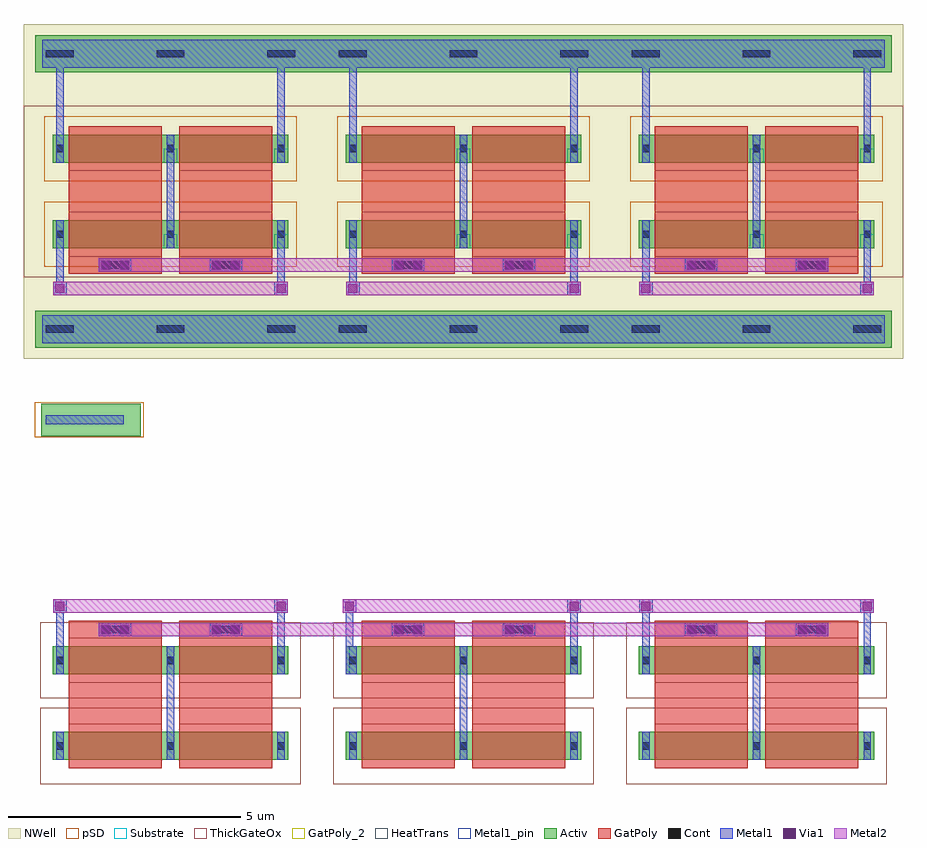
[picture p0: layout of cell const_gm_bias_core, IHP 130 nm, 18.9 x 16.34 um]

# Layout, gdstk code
import gdstk
lib = gdstk.Library(unit=1e-6, precision=1e-09)
def R(c, l, rs):  # rectangles x0, y0, x1, y1
    for r in rs: c.add(gdstk.rectangle(r[:2], r[2:], *l))
def A(c, l, x, y, w, h, nx, ny, dx, dy):  # array of equal rectangles
    R(c, l, [(x+i*dx, y+j*dy, x+i*dx+w, y+j*dy+h) for i in range(nx) for j in range(ny)])
Activ = (1, 0)
GatPoly = (5, 0)
GatPoly_2 = (5, 2)
Cont = (6, 0)
Metal1 = (8, 0)
Metal1_pin = (8, 2)
Metal2 = (10, 0)
pSD = (14, 0)
Via1 = (19, 0)
NWell = (31, 0)
Substrate = (40, 0)
ThickGateOx = (44, 0)
HeatTrans = (51, 0)

pmoshv_6 = lib.new_cell('pmosHV$6')
R(pmoshv_6, Activ, [(0,0,0.3,0.3), (0,0,2.68,0.6), (2.38,0,2.68,0.3)])
R(pmoshv_6, GatPoly, [(0.34,-0.18,2.34,0.78)])
R(pmoshv_6, GatPoly_2, [(0.34,-0.18,2.34,0.78)])
R(pmoshv_6, Cont, [(0.07,0.22,0.23,0.38), (2.45,0.22,2.61,0.38)])
R(pmoshv_6, Metal1, [(0.07,0,0.23,0.6), (2.45,0,2.61,0.6)])
R(pmoshv_6, Metal1_pin, [(0.07,0,0.23,0.6), (2.45,0,2.61,0.6)])
R(pmoshv_6, pSD, [(-0.18,-0.4,2.86,1)])
R(pmoshv_6, NWell, [(-0.62,-0.62,3.3,1.22)])
R(pmoshv_6, Substrate, [(2.38,0,2.68,0.3)])
R(pmoshv_6, ThickGateOx, [(-0.62,-0.62,3.3,1.22)])
R(pmoshv_6, HeatTrans, [(0.34,-0.18,2.34,0.78)])
pmoshv_6.add(gdstk.Label('pmosHV', (1.34,0.3), layer=63, texttype=0))
pmoshv_6.add(gdstk.Label('pmos', (1.34,0.3), layer=51, texttype=0))

nmoshv_6 = lib.new_cell('nmosHV$6')
R(nmoshv_6, Activ, [(0,0,0.3,0.3), (0,0,2.68,0.6), (2.38,0,2.68,0.3)])
R(nmoshv_6, GatPoly, [(0.34,-0.18,2.34,0.78)])
R(nmoshv_6, GatPoly_2, [(0.34,-0.18,2.34,0.78)])
R(nmoshv_6, Cont, [(0.07,0.22,0.23,0.38), (2.45,0.22,2.61,0.38)])
R(nmoshv_6, Metal1, [(0.07,0,0.23,0.6), (2.45,0,2.61,0.6)])
R(nmoshv_6, Metal1_pin, [(0.07,0,0.23,0.6), (2.45,0,2.61,0.6)])
R(nmoshv_6, ThickGateOx, [(-0.27,-0.52,2.95,1.12)])
R(nmoshv_6, HeatTrans, [(0.34,-0.18,2.34,0.78)])
nmoshv_6.add(gdstk.Label('nmosHV', (1.34,0.3), layer=63, texttype=0))
nmoshv_6.add(gdstk.Label('nmosHV', (1.34,0.3), layer=51, texttype=0))

via_stack = lib.new_cell('via_stack')
R(via_stack, Metal1, [(-0.35,-0.145,0.35,0.145)])
R(via_stack, Metal2, [(-0.35,-0.145,0.35,0.145)])
R(via_stack, Via1, [(-0.3,-0.095,-0.11,0.095), (0.11,-0.095,0.3,0.095)])

via_stack_1 = lib.new_cell('via_stack$1')
R(via_stack_1, Metal1, [(-0.145,-0.145,0.145,0.145)])
R(via_stack_1, Metal2, [(-0.145,-0.145,0.145,0.145)])
R(via_stack_1, Via1, [(-0.095,-0.095,0.095,0.095)])

const_gm_bias_core = lib.new_cell('const_gm_bias_core')
A(const_gm_bias_core, Cont, 1.71, 0.05, 0.6, 0.16, 3, 2, 2.38, 5.92)
A(const_gm_bias_core, Cont, 8.01, 0.05, 0.6, 0.16, 3, 2, 2.38, 5.92)
A(const_gm_bias_core, Cont, 14.31, 0.05, 0.6, 0.16, 3, 2, 2.38, 5.92)
R(const_gm_bias_core, Cont, [(2.9,-6.41,3.5,-6.25), (5.28,-6.41,5.88,-6.25), (9.2,-6.41,9.8,-6.25), (11.58,-6.41,12.18,-6.25), (15.5,-6.41,16.1,-6.25), (17.88,-6.41,18.48,-6.25), (2.9,1.425,3.5,1.585), (5.28,1.425,5.88,1.585), (9.2,1.425,9.8,1.585), (11.58,1.425,12.18,1.585), (15.5,1.425,16.1,1.585), (17.88,1.425,18.48,1.585)])
R(const_gm_bias_core, NWell, [(1.24,-0.51,20.14,1.25), (1.24,4.93,20.14,6.69)])
const_gm_bias_core.add(gdstk.FlexPath([(1.48,0.13),(19.9,0.13)], 0.8, ends="flush", simple_path=True, layer=1, datatype=0))  # Activ
const_gm_bias_core.add(gdstk.FlexPath([(1.48,6.05),(19.9,6.05)], 0.8, ends="flush", simple_path=True, layer=1, datatype=0))  # Activ
const_gm_bias_core.add(gdstk.FlexPath([(1.61,-1.82),(3.75,-1.82)], 0.7, ends="flush", simple_path=True, layer=1, datatype=0))  # Activ
const_gm_bias_core.add(gdstk.FlexPath([(18.18,4.49),(18.18,1.32)], 2, ends="flush", simple_path=True, layer=5, datatype=0))  # GatPoly
const_gm_bias_core.add(gdstk.FlexPath([(15.8,4.49),(15.8,1.32)], 2, ends="flush", simple_path=True, layer=5, datatype=0))  # GatPoly
const_gm_bias_core.add(gdstk.FlexPath([(11.88,4.49),(11.88,1.32)], 2, ends="flush", simple_path=True, layer=5, datatype=0))  # GatPoly
const_gm_bias_core.add(gdstk.FlexPath([(9.5,4.49),(9.5,1.32)], 2, ends="flush", simple_path=True, layer=5, datatype=0))  # GatPoly
const_gm_bias_core.add(gdstk.FlexPath([(5.58,4.49),(5.58,1.32)], 2, ends="flush", simple_path=True, layer=5, datatype=0))  # GatPoly
const_gm_bias_core.add(gdstk.FlexPath([(3.2,4.49),(3.2,1.32)], 2, ends="flush", simple_path=True, layer=5, datatype=0))  # GatPoly
const_gm_bias_core.add(gdstk.FlexPath([(18.18,-9.31),(18.18,-6.14)], 2, ends="flush", simple_path=True, layer=5, datatype=0))  # GatPoly
const_gm_bias_core.add(gdstk.FlexPath([(15.8,-9.31),(15.8,-6.14)], 2, ends="flush", simple_path=True, layer=5, datatype=0))  # GatPoly
const_gm_bias_core.add(gdstk.FlexPath([(11.88,-9.31),(11.88,-6.14)], 2, ends="flush", simple_path=True, layer=5, datatype=0))  # GatPoly
const_gm_bias_core.add(gdstk.FlexPath([(9.5,-9.31),(9.5,-6.14)], 2, ends="flush", simple_path=True, layer=5, datatype=0))  # GatPoly
const_gm_bias_core.add(gdstk.FlexPath([(5.58,-9.31),(5.58,-6.14)], 2, ends="flush", simple_path=True, layer=5, datatype=0))  # GatPoly
const_gm_bias_core.add(gdstk.FlexPath([(3.2,-9.31),(3.2,-6.14)], 2, ends="flush", simple_path=True, layer=5, datatype=0))  # GatPoly
const_gm_bias_core.add(gdstk.FlexPath([(4.39,4.31),(4.39,1.87)], 0.16, ends="flush", simple_path=True, layer=8, datatype=0))  # Metal1
const_gm_bias_core.add(gdstk.FlexPath([(10.69,4.31),(10.69,1.87)], 0.16, ends="flush", simple_path=True, layer=8, datatype=0))  # Metal1
const_gm_bias_core.add(gdstk.FlexPath([(4.39,-6.69),(4.39,-9.13)], 0.16, ends="flush", simple_path=True, layer=8, datatype=0))  # Metal1
const_gm_bias_core.add(gdstk.FlexPath([(10.69,-6.69),(10.69,-9.13)], 0.16, ends="flush", simple_path=True, layer=8, datatype=0))  # Metal1
const_gm_bias_core.add(gdstk.FlexPath([(16.99,-6.69),(16.99,-9.13)], 0.16, ends="flush", simple_path=True, layer=8, datatype=0))  # Metal1
const_gm_bias_core.add(gdstk.FlexPath([(2.01,2.47),(2.01,0.86)], 0.16, ends="flush", simple_path=True, layer=8, datatype=0))  # Metal1
const_gm_bias_core.add(gdstk.FlexPath([(6.77,2.47),(6.77,0.86)], 0.16, ends="flush", simple_path=True, layer=8, datatype=0))  # Metal1
const_gm_bias_core.add(gdstk.FlexPath([(8.31,2.47),(8.31,0.86)], 0.16, ends="flush", simple_path=True, layer=8, datatype=0))  # Metal1
const_gm_bias_core.add(gdstk.FlexPath([(13.07,2.47),(13.07,0.86)], 0.16, ends="flush", simple_path=True, layer=8, datatype=0))  # Metal1
const_gm_bias_core.add(gdstk.FlexPath([(16.99,4.31),(16.99,1.87)], 0.16, ends="flush", simple_path=True, layer=8, datatype=0))  # Metal1
const_gm_bias_core.add(gdstk.FlexPath([(14.61,2.47),(14.61,0.86)], 0.16, ends="flush", simple_path=True, layer=8, datatype=0))  # Metal1
const_gm_bias_core.add(gdstk.FlexPath([(19.37,2.47),(19.37,0.86)], 0.16, ends="flush", simple_path=True, layer=8, datatype=0))  # Metal1
const_gm_bias_core.add(gdstk.FlexPath([(1.63,0.13),(19.75,0.13)], 0.6, ends="flush", simple_path=True, layer=8, datatype=0))  # Metal1
const_gm_bias_core.add(gdstk.FlexPath([(1.63,6.05),(19.75,6.05)], 0.6, ends="flush", simple_path=True, layer=8, datatype=0))  # Metal1
const_gm_bias_core.add(gdstk.FlexPath([(2.01,3.71),(2.01,6.35)], 0.16, ends="flush", simple_path=True, layer=8, datatype=0))  # Metal1
const_gm_bias_core.add(gdstk.FlexPath([(6.77,3.71),(6.77,6.35)], 0.16, ends="flush", simple_path=True, layer=8, datatype=0))  # Metal1
const_gm_bias_core.add(gdstk.FlexPath([(8.31,3.71),(8.31,6.35)], 0.16, ends="flush", simple_path=True, layer=8, datatype=0))  # Metal1
const_gm_bias_core.add(gdstk.FlexPath([(13.07,3.71),(13.07,6.35)], 0.16, ends="flush", simple_path=True, layer=8, datatype=0))  # Metal1
const_gm_bias_core.add(gdstk.FlexPath([(14.61,3.71),(14.61,6.35)], 0.16, ends="flush", simple_path=True, layer=8, datatype=0))  # Metal1
const_gm_bias_core.add(gdstk.FlexPath([(19.37,3.71),(19.37,6.35)], 0.16, ends="flush", simple_path=True, layer=8, datatype=0))  # Metal1
const_gm_bias_core.add(gdstk.FlexPath([(2.01,-7.29),(2.01,-5.68)], 0.16, ends="flush", simple_path=True, layer=8, datatype=0))  # Metal1
const_gm_bias_core.add(gdstk.FlexPath([(6.77,-7.29),(6.77,-5.68)], 0.16, ends="flush", simple_path=True, layer=8, datatype=0))  # Metal1
const_gm_bias_core.add(gdstk.FlexPath([(8.24,-7.29),(8.24,-5.68)], 0.16, ends="flush", simple_path=True, layer=8, datatype=0))  # Metal1
const_gm_bias_core.add(gdstk.FlexPath([(13.07,-7.29),(13.07,-5.68)], 0.16, ends="flush", simple_path=True, layer=8, datatype=0))  # Metal1
const_gm_bias_core.add(gdstk.FlexPath([(14.61,-7.29),(14.61,-5.68)], 0.16, ends="flush", simple_path=True, layer=8, datatype=0))  # Metal1
const_gm_bias_core.add(gdstk.FlexPath([(19.37,-7.29),(19.37,-5.68)], 0.16, ends="flush", simple_path=True, layer=8, datatype=0))  # Metal1
const_gm_bias_core.add(gdstk.FlexPath([(1.71,-1.82),(3.39,-1.82)], 0.2, ends="flush", simple_path=True, layer=8, datatype=0))  # Metal1
const_gm_bias_core.add(gdstk.FlexPath([(1.47,-1.82),(3.82,-1.82)], 0.76, ends="flush", simple_path=True, layer=14, datatype=0))  # pSD
const_gm_bias_core.add(gdstk.FlexPath([(2.85,1.505),(18.53,1.505)], 0.29, ends="flush", simple_path=True, layer=10, datatype=0))  # Metal2
const_gm_bias_core.add(gdstk.FlexPath([(2.85,-6.33),(18.53,-6.33)], 0.29, ends="flush", simple_path=True, layer=10, datatype=0))  # Metal2
const_gm_bias_core.add(gdstk.FlexPath([(1.865,1.005),(6.915,1.005)], 0.29, ends="flush", simple_path=True, layer=10, datatype=0))  # Metal2
const_gm_bias_core.add(gdstk.FlexPath([(8.165,1.005),(13.215,1.005)], 0.29, ends="flush", simple_path=True, layer=10, datatype=0))  # Metal2
const_gm_bias_core.add(gdstk.FlexPath([(14.465,1.005),(19.515,1.005)], 0.29, ends="flush", simple_path=True, layer=10, datatype=0))  # Metal2
const_gm_bias_core.add(gdstk.FlexPath([(1.865,-5.825),(6.915,-5.825)], 0.29, ends="flush", simple_path=True, layer=10, datatype=0))  # Metal2
const_gm_bias_core.add(gdstk.FlexPath([(8.095,-5.825),(19.515,-5.825)], 0.29, ends="flush", simple_path=True, layer=10, datatype=0))  # Metal2
const_gm_bias_core.add(gdstk.Reference(pmoshv_6, (1.86,3.71)))
const_gm_bias_core.add(gdstk.Reference(pmoshv_6, (1.86,1.87)))
const_gm_bias_core.add(gdstk.Reference(pmoshv_6, (4.24,3.71)))
const_gm_bias_core.add(gdstk.Reference(pmoshv_6, (4.24,1.87)))
const_gm_bias_core.add(gdstk.Reference(pmoshv_6, (8.16,3.71)))
const_gm_bias_core.add(gdstk.Reference(pmoshv_6, (8.16,1.87)))
const_gm_bias_core.add(gdstk.Reference(pmoshv_6, (10.54,3.71)))
const_gm_bias_core.add(gdstk.Reference(pmoshv_6, (10.54,1.87)))
const_gm_bias_core.add(gdstk.Reference(pmoshv_6, (14.46,3.71)))
const_gm_bias_core.add(gdstk.Reference(pmoshv_6, (14.46,1.87)))
const_gm_bias_core.add(gdstk.Reference(pmoshv_6, (16.84,3.71)))
const_gm_bias_core.add(gdstk.Reference(pmoshv_6, (16.84,1.87)))
const_gm_bias_core.add(gdstk.Reference(nmoshv_6, (1.86,-7.29)))
const_gm_bias_core.add(gdstk.Reference(nmoshv_6, (4.24,-7.29)))
const_gm_bias_core.add(gdstk.Reference(nmoshv_6, (4.24,-9.13)))
const_gm_bias_core.add(gdstk.Reference(nmoshv_6, (8.16,-7.29)))
const_gm_bias_core.add(gdstk.Reference(nmoshv_6, (8.16,-9.13)))
const_gm_bias_core.add(gdstk.Reference(nmoshv_6, (10.54,-7.29)))
const_gm_bias_core.add(gdstk.Reference(nmoshv_6, (10.54,-9.13)))
const_gm_bias_core.add(gdstk.Reference(nmoshv_6, (14.46,-7.29)))
const_gm_bias_core.add(gdstk.Reference(nmoshv_6, (14.46,-9.13)))
const_gm_bias_core.add(gdstk.Reference(nmoshv_6, (16.84,-7.29)))
const_gm_bias_core.add(gdstk.Reference(nmoshv_6, (16.84,-9.13)))
const_gm_bias_core.add(gdstk.Reference(via_stack, (18.18,1.505), x_reflection=True))
const_gm_bias_core.add(gdstk.Reference(via_stack, (15.8,1.505), x_reflection=True))
const_gm_bias_core.add(gdstk.Reference(via_stack, (11.88,1.505), x_reflection=True))
const_gm_bias_core.add(gdstk.Reference(via_stack, (9.5,1.505), x_reflection=True))
const_gm_bias_core.add(gdstk.Reference(via_stack, (5.58,1.505), x_reflection=True))
const_gm_bias_core.add(gdstk.Reference(via_stack, (3.2,1.505), x_reflection=True))
const_gm_bias_core.add(gdstk.Reference(via_stack, (18.18,-6.33)))
const_gm_bias_core.add(gdstk.Reference(via_stack, (15.8,-6.33)))
const_gm_bias_core.add(gdstk.Reference(via_stack, (11.88,-6.33)))
const_gm_bias_core.add(gdstk.Reference(via_stack, (9.5,-6.33)))
const_gm_bias_core.add(gdstk.Reference(via_stack, (5.58,-6.33)))
const_gm_bias_core.add(gdstk.Reference(via_stack, (3.2,-6.33)))
const_gm_bias_core.add(gdstk.Reference(nmoshv_6, (1.86,-9.13)))
const_gm_bias_core.add(gdstk.Reference(via_stack_1, (2.01,1.005)))
const_gm_bias_core.add(gdstk.Reference(via_stack_1, (6.77,1.005)))
const_gm_bias_core.add(gdstk.Reference(via_stack_1, (8.31,1.005)))
const_gm_bias_core.add(gdstk.Reference(via_stack_1, (13.07,1.005)))
const_gm_bias_core.add(gdstk.Reference(via_stack_1, (14.61,1.005)))
const_gm_bias_core.add(gdstk.Reference(via_stack_1, (19.37,1.005)))
const_gm_bias_core.add(gdstk.Reference(via_stack_1, (2.01,-5.825)))
const_gm_bias_core.add(gdstk.Reference(via_stack_1, (6.77,-5.825)))
const_gm_bias_core.add(gdstk.Reference(via_stack_1, (8.24,-5.825)))
const_gm_bias_core.add(gdstk.Reference(via_stack_1, (13.07,-5.825)))
const_gm_bias_core.add(gdstk.Reference(via_stack_1, (14.61,-5.825)))
const_gm_bias_core.add(gdstk.Reference(via_stack_1, (19.37,-5.825)))

lib.write_gds('const_gm_bias_core.gds')
